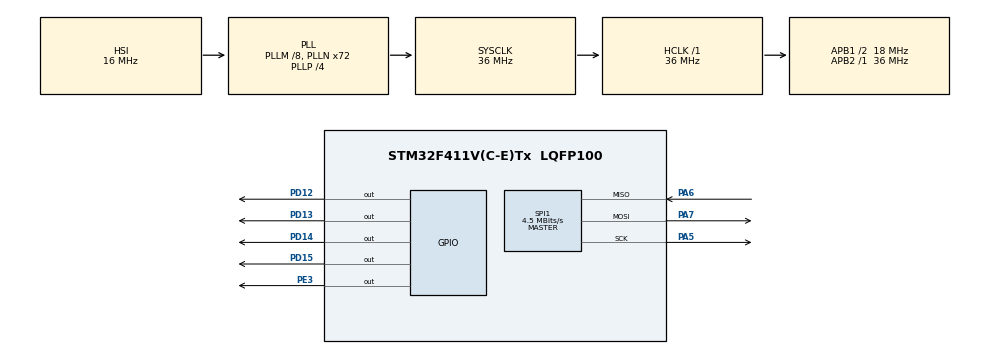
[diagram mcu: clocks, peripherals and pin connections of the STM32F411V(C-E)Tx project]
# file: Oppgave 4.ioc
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Mcu.Family=STM32F4
Mcu.Name=STM32F411V(C-E)Tx
Mcu.Package=LQFP100
NVIC.PriorityGroup=NVIC_PRIORITYGROUP_0
PA5.Mode=Full_Duplex_Master
PA5.Signal=SPI1_SCK
PA6.Mode=Full_Duplex_Master
PA6.Signal=SPI1_MISO
PA7.Mode=Full_Duplex_Master
PA7.Signal=SPI1_MOSI
PD12.Signal=GPIO_Output
PD13.Signal=GPIO_Output
PD14.Signal=GPIO_Output
PD15.Signal=GPIO_Output
PE3.Signal=GPIO_Output
ProjectManager.HeapSize=0x200
ProjectManager.StackSize=0x400
ProjectManager.TargetToolchain=STM32CubeIDE
RCC.48MHZClocksFreq_Value=48000000
RCC.AHBFreq_Value=36000000
RCC.APB1CLKDivider=RCC_HCLK_DIV2
RCC.APB1Freq_Value=18000000
RCC.APB1TimFreq_Value=36000000
RCC.APB2Freq_Value=36000000
RCC.APB2TimFreq_Value=36000000
RCC.CortexFreq_Value=36000000
RCC.HCLKFreq_Value=36000000
RCC.HSE_VALUE=8000000
RCC.HSI_VALUE=16000000
RCC.LSE_VALUE=32768
RCC.PLLI2SM=5
RCC.PLLI2SN=200
RCC.PLLM=8
RCC.PLLN=72
RCC.PLLP=RCC_PLLP_DIV4
RCC.PLLQ=3
RCC.SYSCLKFreq_VALUE=36000000
RCC.SYSCLKSource=RCC_SYSCLKSOURCE_PLLCLK
RCC.VCOOutputFreq_Value=144000000
SPI1.BaudRatePrescaler=SPI_BAUDRATEPRESCALER_8
SPI1.CalculateBaudRate=4.5 MBits/s
SPI1.Direction=SPI_DIRECTION_2LINES
SPI1.Mode=SPI_MODE_MASTER
SPI1.VirtualType=VM_MASTER
board=STM32F411E-DISCO

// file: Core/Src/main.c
/* USER CODE BEGIN Header */
/**
  ******************************************************************************
  * @file           : main.c
  * @brief          : Main program body
  ******************************************************************************
  * @attention
  *
  * Copyright (c) 2024 STMicroelectronics.
  * All rights reserved.
  *
  * This software is licensed under terms that can be found in the LICENSE file
  * in the root directory of this software component.
  * If no LICENSE file comes with this software, it is provided AS-IS.
  *
  ******************************************************************************
  */
/* USER CODE END Header */
#include "main.h"
uint8_t SPI_Read_Register(uint8_t reg_addr);

SPI_HandleTypeDef hspi1;

/* USER CODE BEGIN PV */

/* CTRL Register variables */
uint8_t CTRL_REG1_addr = 0x20; // CTRL_REG1 address
uint8_t CTRL_REG1_val = 0x0F; // Value to write to CTRL_REG1 to configure gyroscope: set ODR to lowest and enable X, Y and Z-axes

/* SPI-CS variables */
GPIO_TypeDef* CS_Port = GPIOE; // CS port
uint16_t CS_Pin = GPIO_PIN_3; // CS pin

/* LED variables */
GPIO_TypeDef* LED_Port = GPIOD; // LED port
uint16_t gLED_Pin = GPIO_PIN_12; // Green LED pin
uint16_t rLED_Pin = GPIO_PIN_14; // Red LED pin
uint16_t bLED_Pin = GPIO_PIN_15; // Blue LED pin
uint16_t oLED_Pin = GPIO_PIN_13; // Orange LED pin

/* SPI delay */
uint32_t SPI_Delay = HAL_MAX_DELAY;

/* Threshold variable */
uint16_t THRESHOLD = 3000;

/* X-axis variables */
/*Read data method 1: Messy*/
//uint8_t rOUT_X_L_addr = 0xA8; // Address for the lower 8 bits of the X-axis data + read operation
//uint8_t rOUT_X_H_addr = 0xA9; // Address for the upper 8 bits of the X-axis data + read operation
/*Read data method 2: Clean*/
uint8_t OUT_X_L_addr = 0x28; // Address for the lower 8 bits of the X-axis data
uint8_t OUT_X_H_addr = 0x29; // Address for the upper 8 bits of the X-axis data
uint8_t x_lsb; // Variable to read the low byte into
uint8_t x_msb; // Variable to read the high byte into
int16_t x_val; // Variable to combine high and low bytes into 16-bit value

/* Y-axis variables */
/*Read data method 1: Messy*/
//uint8_t rOUT_Y_L_addr = 0xAA; // Address for the lower 8 bits of the Y-axis data + read operation
//uint8_t rOUT_Y_H_addr = 0xAB; // Address for the upper 8 bits of the Y-axis data + read operation
/*Read data method 2: Clean*/
uint8_t OUT_Y_L_addr = 0x2A; // Address for the lower 8 bits of the Y-axis data
uint8_t OUT_Y_H_addr = 0x2B; // Address for the upper 8 bits of the Y-axis data
uint8_t y_lsb; // Variable to read the low byte into
uint8_t y_msb; // Variable to read the high byte into
int16_t y_val; // Variable to combine high and low bytes into 16-bit value

/* SPI_Read_Register variables */
uint8_t reg_addr;
uint8_t rx_data;
uint8_t tx_data;

/* USER CODE END PV */

void SystemClock_Config(void);
static void MX_GPIO_Init(void);
static void MX_SPI1_Init(void);

int main(void)
{

  /* USER CODE BEGIN 1 */

  // Del 1 - Test SPI communication

//	// WHO_AM_I address + Read bit set
//	const uint8_t r_WHO_AM_I = 0x0F| 0x80;
//	// Expected WHO_AM_I value
//	uint8_t WHO_AM_I_value = 0xD3;
//	// Received data from SPI communication
//	uint8_t received_Data;
//	// LED port
//	GPIO_TypeDef* LED_Port = GPIOD;
//	// Red LED pin
//	uint16_t rLED_Pin = GPIO_PIN_14;
//	// Green LED pin
//	uint16_t gLED_Pin = GPIO_PIN_12;
//	// CS port
//	GPIO_TypeDef* CS_Port = GPIOE;
//	// CS pin
//	uint16_t CS_Pin = GPIO_PIN_3;

  // Del 2 - Light up LEDs based on the direction the board is tipped

	//uint8_t xy_reg_val[4] = {0};

  /* USER CODE END 1 */

  /* MCU Configuration--------------------------------------------------------*/

  /* Reset of all peripherals, Initializes the Flash interface and the Systick. */
  HAL_Init();

  /* Configure the system clock */
  SystemClock_Config();

  /* Initialize all configured peripherals */
  MX_GPIO_Init();
  MX_SPI1_Init();
  /* USER CODE BEGIN 2 */

// Del 1 - Test SPI communication

//  // Set CS low
//  HAL_GPIO_WritePin(CS_Port, CS_Pin, GPIO_PIN_RESET);
//
//  // Transmit and Receive data from the WHO_AM_I register
//  HAL_SPI_TransmitReceive(&hspi1, &r_WHO_AM_I, &received_Data, 1, SPI_Delay);
//
//  // Set CS high
//  HAL_GPIO_WritePin(CS_Port, CS_Pin, GPIO_PIN_SET);
//
//	  // Not task relevant, just testing USB
//		  // Convert received data to string for USB transmission
//		  //char buffer[50];
//		  //int length = sprintf(buffer, "WHO_AM_I value: 0x%02X\r\n", received_Data);
// 	  	  //CDC_Transmit_FS((uint8_t*)buffer, length);
//
//  // Check if received data is equal to the expected value from the WHO_AM_I register
//  	  // If they are equal, turn on Green LED
//  	  // If they are not equal, turn on the Red LED
//  if (received_Data == WHO_AM_I_value){
//
//	  // Turn on Green LED
//	  HAL_GPIO_WritePin(LED_Port, gLED_Pin, GPIO_PIN_SET);
//
//  } else {
//
//	  // Turn on Red LED
//	  HAL_GPIO_WritePin(LED_Port, rLED_Pin, GPIO_PIN_SET);
//  }

////////////////////////////////////////////////////////////////////////////////////////////////////
////////////////////////////////////////////////////////////////////////////////////////////////////

// DEL 2 - Light up LEDs based on the direction the board is tipped

  /* Configure built-in gyroscope */

  HAL_GPIO_WritePin(CS_Port, CS_Pin, GPIO_PIN_RESET); // Set CS low
  HAL_SPI_Transmit(&hspi1, &CTRL_REG1_addr, 1, SPI_Delay); // Send CTRL_REG1 address 0x20
  HAL_SPI_Transmit(&hspi1, &CTRL_REG1_val, 1, SPI_Delay); // Send configure value 0x0F
  HAL_GPIO_WritePin(CS_Port, CS_Pin, GPIO_PIN_SET); // Set CS high

  /* USER CODE END 2 */

  /* Infinite loop */
  /* USER CODE BEGIN WHILE */
  while (1)
  {

	  /* Not task relevant, just testing USB */
	  // Send data over USB CDC
	  //CDC_Transmit_FS((uint8_t*)buffer, length);

// DEL 2 - Light up LEDs based on the direction the board is tipped

   /* Read data method 1: Messy */

//	  // Set CS low
//	  HAL_GPIO_WritePin(CS_Port, CS_Pin, GPIO_PIN_RESET);
//
//	  // Send read OUT_X_L
//	  HAL_SPI_Transmit(&hspi1, &rOUT_X_L_addr, 1, SPI_Delay);
//	  // Receive OUT_X_L data
//	  HAL_SPI_Receive(&hspi1, &x_lsb, 1, SPI_Delay);
//
//	  // Set CS high
//	  HAL_GPIO_WritePin(CS_Port, CS_Pin, GPIO_PIN_SET);
//
//	  // For OUT_X_H
//	  HAL_GPIO_WritePin(CS_Port, CS_Pin, GPIO_PIN_RESET);
//	  HAL_SPI_Transmit(&hspi1, &rOUT_X_H_addr, 1, SPI_Delay);
//	  HAL_SPI_Receive(&hspi1, &x_msb, 1, SPI_Delay);
//	  HAL_GPIO_WritePin(CS_Port, CS_Pin, GPIO_PIN_SET);
//
//	  // For OUT_Y_L
//	  HAL_GPIO_WritePin(CS_Port, CS_Pin, GPIO_PIN_RESET);
//	  HAL_SPI_Transmit(&hspi1, &rOUT_Y_L_addr, 1, SPI_Delay);
//	  HAL_SPI_Receive(&hspi1, &y_lsb, 1, SPI_Delay);
//	  HAL_GPIO_WritePin(CS_Port, CS_Pin, GPIO_PIN_SET);
//
//	  // For OUT_Y_H
//	  HAL_GPIO_WritePin(CS_Port, CS_Pin, GPIO_PIN_RESET);
//	  HAL_SPI_Transmit(&hspi1, &rOUT_Y_H_addr, 1, SPI_Delay);
//	  HAL_SPI_Receive(&hspi1, &y_msb, 1, SPI_Delay);
//	  HAL_GPIO_WritePin(CS_Port, CS_Pin, GPIO_PIN_SET);

   /*Read data method 2: Clean*/

	  // Read data from x-axis
	  x_lsb = SPI_Read_Register(OUT_X_L_addr);
	  x_msb = SPI_Read_Register(OUT_X_H_addr);

	  // Combine x_msb and x_lsb
	  //x_val = ((uint16_t) xy_reg_val[1]) << 8 | ((uint16_t) xy_reg_val[0]);
	  x_val = ((uint16_t) x_msb << 8) | ((uint16_t) x_lsb);

	  // Read data from y-axis
	  y_lsb = SPI_Read_Register(OUT_Y_L_addr);
	  y_msb = SPI_Read_Register(OUT_Y_H_addr);

	  // Combine y_msb and y_lsb
	  //y_val = ((uint16_t) xy_reg_val[3]) << 8 | ((uint16_t) xy_reg_val[2]);
	  y_val = ((uint16_t) y_msb << 8) | ((uint16_t) y_lsb);

//	  char tx_string[50];
//	  sprintf(tx_string, "X: %d, Y: %d\r\n", x_val, y_val);
//	  CDC_Transmit_FS((uint8_t*)tx_string, strlen(tx_string));

   /* Update LEDs based on X- and Y-axis data */

	  if (x_val > THRESHOLD){
		  HAL_GPIO_WritePin(LED_Port, gLED_Pin, GPIO_PIN_SET); // Turn on green LED if X is negative
		  HAL_GPIO_WritePin(LED_Port, rLED_Pin, GPIO_PIN_RESET); // Turn off red LED if X is negative
	  } else if (x_val < -THRESHOLD){
		  HAL_GPIO_WritePin(LED_Port, gLED_Pin, GPIO_PIN_RESET);
		  HAL_GPIO_WritePin(LED_Port, rLED_Pin, GPIO_PIN_SET);
	  } else {
		  HAL_GPIO_WritePin(LED_Port, gLED_Pin, GPIO_PIN_RESET);
		  HAL_GPIO_WritePin(LED_Port, rLED_Pin, GPIO_PIN_RESET);
	  }

	  if (y_val > THRESHOLD){
		  HAL_GPIO_WritePin(LED_Port, bLED_Pin, GPIO_PIN_SET);
		  HAL_GPIO_WritePin(LED_Port, oLED_Pin, GPIO_PIN_RESET);
	  } else if (y_val < -THRESHOLD){
		  HAL_GPIO_WritePin(LED_Port, bLED_Pin, GPIO_PIN_RESET);
		  HAL_GPIO_WritePin(LED_Port, oLED_Pin, GPIO_PIN_SET);
	  } else {
		  HAL_GPIO_WritePin(LED_Port, bLED_Pin, GPIO_PIN_RESET);
		  HAL_GPIO_WritePin(LED_Port, oLED_Pin, GPIO_PIN_RESET);
	  }

//	  // Update LEDs based on X-axis data
//	  if (x_val > THRESHOLD){
//		  HAL_GPIO_WritePin(LED_Port, gLED_Pin, GPIO_PIN_SET); // Turn on green LED if X is negative
//		  HAL_GPIO_WritePin(LED_Port, rLED_Pin, GPIO_PIN_RESET); // Turn off red LED if X is negative
//		  HAL_GPIO_WritePin(LED_Port, bLED_Pin, GPIO_PIN_RESET); // Turn off blue LED if X is negative
//		  HAL_GPIO_WritePin(LED_Port, oLED_Pin, GPIO_PIN_RESET); // Turn off orange LED if X is negative
//	  }
//
//	  if (x_val < -THRESHOLD){
//		  HAL_GPIO_WritePin(LED_Port, gLED_Pin, GPIO_PIN_RESET);
//		  HAL_GPIO_WritePin(LED_Port, rLED_Pin, GPIO_PIN_SET);
//		  HAL_GPIO_WritePin(LED_Port, bLED_Pin, GPIO_PIN_RESET);
//		  HAL_GPIO_WritePin(LED_Port, oLED_Pin, GPIO_PIN_RESET);
//	  }
//
//	  if (y_val > THRESHOLD){
//		  HAL_GPIO_WritePin(LED_Port, gLED_Pin, GPIO_PIN_RESET);
//		  HAL_GPIO_WritePin(LED_Port, rLED_Pin, GPIO_PIN_RESET);
//		  HAL_GPIO_WritePin(LED_Port, bLED_Pin, GPIO_PIN_SET);
//		  HAL_GPIO_WritePin(LED_Port, oLED_Pin, GPIO_PIN_RESET);
//	  }
//
//	  if (y_val < -THRESHOLD){
//		  HAL_GPIO_WritePin(LED_Port, gLED_Pin, GPIO_PIN_RESET);
//		  HAL_GPIO_WritePin(LED_Port, rLED_Pin, GPIO_PIN_RESET);
//		  HAL_GPIO_WritePin(LED_Port, bLED_Pin, GPIO_PIN_RESET);
//		  HAL_GPIO_WritePin(LED_Port, oLED_Pin, GPIO_PIN_SET);
//	  }

	  HAL_Delay(100); // Small delay for stability

    /* USER CODE END WHILE */

  }
}

void SystemClock_Config(void)
{
  RCC_OscInitTypeDef RCC_OscInitStruct = {0};
  RCC_ClkInitTypeDef RCC_ClkInitStruct = {0};

  /** Configure the main internal regulator output voltage
  */
  __HAL_RCC_PWR_CLK_ENABLE();
  __HAL_PWR_VOLTAGESCALING_CONFIG(PWR_REGULATOR_VOLTAGE_SCALE1);

  /** Initializes the RCC Oscillators according to the specified parameters
  * in the RCC_OscInitTypeDef structure.
  */
  RCC_OscInitStruct.OscillatorType = RCC_OSCILLATORTYPE_HSI;
  RCC_OscInitStruct.HSIState = RCC_HSI_ON;
  RCC_OscInitStruct.HSICalibrationValue = RCC_HSICALIBRATION_DEFAULT;
  RCC_OscInitStruct.PLL.PLLState = RCC_PLL_ON;
  RCC_OscInitStruct.PLL.PLLSource = RCC_PLLSOURCE_HSI;
  RCC_OscInitStruct.PLL.PLLM = 8;
  RCC_OscInitStruct.PLL.PLLN = 72;
  RCC_OscInitStruct.PLL.PLLP = RCC_PLLP_DIV4;
  RCC_OscInitStruct.PLL.PLLQ = 3;
  if (HAL_RCC_OscConfig(&RCC_OscInitStruct) != HAL_OK)
  {
    Error_Handler();
  }

  /** Initializes the CPU, AHB and APB buses clocks
  */
  RCC_ClkInitStruct.ClockType = RCC_CLOCKTYPE_HCLK|RCC_CLOCKTYPE_SYSCLK
                              |RCC_CLOCKTYPE_PCLK1|RCC_CLOCKTYPE_PCLK2;
  RCC_ClkInitStruct.SYSCLKSource = RCC_SYSCLKSOURCE_PLLCLK;
  RCC_ClkInitStruct.AHBCLKDivider = RCC_SYSCLK_DIV1;
  RCC_ClkInitStruct.APB1CLKDivider = RCC_HCLK_DIV2;
  RCC_ClkInitStruct.APB2CLKDivider = RCC_HCLK_DIV1;

  if (HAL_RCC_ClockConfig(&RCC_ClkInitStruct, FLASH_LATENCY_1) != HAL_OK)
  {
    Error_Handler();
  }
}

static void MX_SPI1_Init(void)
{

  /* SPI1 parameter configuration*/
  hspi1.Instance = SPI1;
  hspi1.Init.Mode = SPI_MODE_MASTER;
  hspi1.Init.Direction = SPI_DIRECTION_2LINES;
  hspi1.Init.DataSize = SPI_DATASIZE_8BIT;
  hspi1.Init.CLKPolarity = SPI_POLARITY_LOW;
  hspi1.Init.CLKPhase = SPI_PHASE_1EDGE;
  hspi1.Init.NSS = SPI_NSS_SOFT;
  hspi1.Init.BaudRatePrescaler = SPI_BAUDRATEPRESCALER_8;
  hspi1.Init.FirstBit = SPI_FIRSTBIT_MSB;
  hspi1.Init.TIMode = SPI_TIMODE_DISABLE;
  hspi1.Init.CRCCalculation = SPI_CRCCALCULATION_DISABLE;
  hspi1.Init.CRCPolynomial = 10;
  if (HAL_SPI_Init(&hspi1) != HAL_OK)
  {
    Error_Handler();
  }

}

static void MX_GPIO_Init(void)
{
  GPIO_InitTypeDef GPIO_InitStruct = {0};

  /* GPIO Ports Clock Enable */
  __HAL_RCC_GPIOE_CLK_ENABLE();
  __HAL_RCC_GPIOA_CLK_ENABLE();
  __HAL_RCC_GPIOD_CLK_ENABLE();

  /*Configure GPIO pin Output Level */
  HAL_GPIO_WritePin(GPIOE, GPIO_PIN_3, GPIO_PIN_RESET);

  /*Configure GPIO pin Output Level */
  HAL_GPIO_WritePin(GPIOD, GPIO_PIN_12|GPIO_PIN_13|GPIO_PIN_14|GPIO_PIN_15, GPIO_PIN_RESET);

  /*Configure GPIO pin : PE3 */
  GPIO_InitStruct.Pin = GPIO_PIN_3;
  GPIO_InitStruct.Mode = GPIO_MODE_OUTPUT_PP;
  GPIO_InitStruct.Pull = GPIO_NOPULL;
  GPIO_InitStruct.Speed = GPIO_SPEED_FREQ_LOW;
  HAL_GPIO_Init(GPIOE, &GPIO_InitStruct);

  /*Configure GPIO pins : PD12 PD13 PD14 PD15 */
  GPIO_InitStruct.Pin = GPIO_PIN_12|GPIO_PIN_13|GPIO_PIN_14|GPIO_PIN_15;
  GPIO_InitStruct.Mode = GPIO_MODE_OUTPUT_PP;
  GPIO_InitStruct.Pull = GPIO_NOPULL;
  GPIO_InitStruct.Speed = GPIO_SPEED_FREQ_LOW;
  HAL_GPIO_Init(GPIOD, &GPIO_InitStruct);

}

/* USER CODE BEGIN 4 */

uint8_t SPI_Read_Register(uint8_t reg_addr)
{
	rx_data = 0;
	tx_data = reg_addr | 0x80; // Read from register

	// Set CS low
	HAL_GPIO_WritePin(CS_Port, CS_Pin, GPIO_PIN_RESET);

	// Transmit register address
	HAL_SPI_Transmit(&hspi1, &tx_data, 1, SPI_Delay);

	// Receive data from register
	HAL_SPI_Receive(&hspi1, &rx_data, 1, SPI_Delay);

	// Set CS high
	HAL_GPIO_WritePin(CS_Port, CS_Pin, GPIO_PIN_SET);

	return rx_data;
}

/* USER CODE END 4 */

void Error_Handler(void)
{
  __disable_irq();
  while (1)
  {
  }
}
